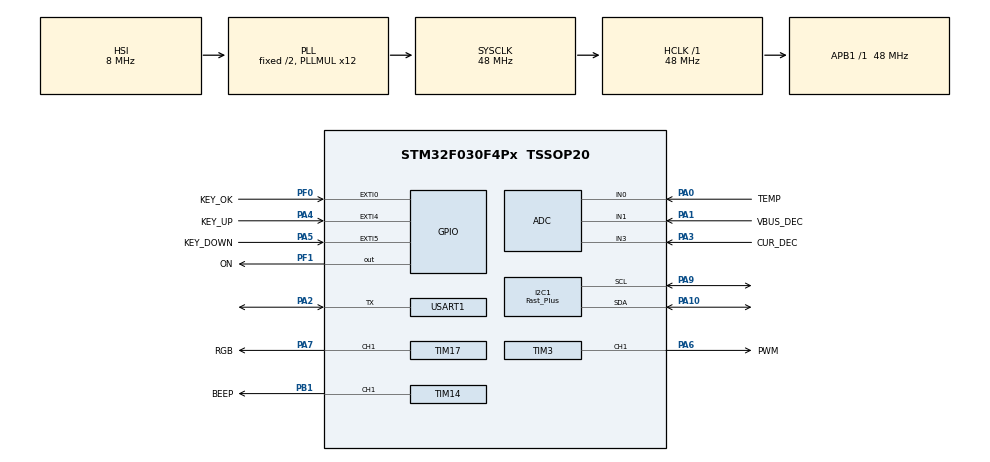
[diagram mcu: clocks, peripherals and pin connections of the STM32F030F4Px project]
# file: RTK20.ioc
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ADC.ContinuousConvMode=ENABLE
ADC.DMAContinuousRequests=ENABLE
ADC.EOCSelection=ADC_EOC_SINGLE_CONV
ADC.Overrun=ADC_OVR_DATA_OVERWRITTEN
ADC.SamplingTime=ADC_SAMPLETIME_239CYCLES_5
Dma.ADC.0.Direction=DMA_PERIPH_TO_MEMORY
Dma.ADC.0.Instance=DMA1_Channel1
Dma.ADC.0.MemDataAlignment=DMA_MDATAALIGN_HALFWORD
Dma.ADC.0.MemInc=DMA_MINC_ENABLE
Dma.ADC.0.Mode=DMA_CIRCULAR
Dma.ADC.0.PeriphDataAlignment=DMA_PDATAALIGN_HALFWORD
Dma.ADC.0.PeriphInc=DMA_PINC_DISABLE
Dma.ADC.0.Priority=DMA_PRIORITY_MEDIUM
Dma.Request0=ADC
Dma.Request1=TIM17_CH1/UP
Dma.Request2=TIM3_CH1/TRIG
Dma.TIM17_CH1/UP.1.Direction=DMA_MEMORY_TO_PERIPH
Dma.TIM17_CH1/UP.1.Instance=DMA1_Channel2
Dma.TIM17_CH1/UP.1.MemDataAlignment=DMA_MDATAALIGN_HALFWORD
Dma.TIM17_CH1/UP.1.MemInc=DMA_MINC_ENABLE
Dma.TIM17_CH1/UP.1.Mode=DMA_NORMAL
Dma.TIM17_CH1/UP.1.PeriphDataAlignment=DMA_PDATAALIGN_HALFWORD
Dma.TIM17_CH1/UP.1.PeriphInc=DMA_PINC_DISABLE
Dma.TIM17_CH1/UP.1.Priority=DMA_PRIORITY_MEDIUM
Dma.TIM3_CH1/TRIG.2.Direction=DMA_MEMORY_TO_PERIPH
Dma.TIM3_CH1/TRIG.2.Instance=DMA1_Channel4
Dma.TIM3_CH1/TRIG.2.MemDataAlignment=DMA_MDATAALIGN_HALFWORD
Dma.TIM3_CH1/TRIG.2.MemInc=DMA_MINC_ENABLE
Dma.TIM3_CH1/TRIG.2.Mode=DMA_NORMAL
Dma.TIM3_CH1/TRIG.2.PeriphDataAlignment=DMA_PDATAALIGN_HALFWORD
Dma.TIM3_CH1/TRIG.2.PeriphInc=DMA_PINC_DISABLE
Dma.TIM3_CH1/TRIG.2.Priority=DMA_PRIORITY_HIGH
I2C1.I2C_Speed_Mode=I2C_Fast_Plus
I2C1.Timing=0x00000001
Mcu.Family=STM32F0
Mcu.Name=STM32F030F4Px
Mcu.Package=TSSOP20
NVIC.ADC1_IRQn=true\:0\:0\:false\:false\:true\:true\:true
NVIC.DMA1_Channel1_IRQn=true\:0\:0\:false\:false\:true\:false\:true
NVIC.DMA1_Channel2_3_IRQn=true\:0\:0\:false\:false\:true\:false\:true
NVIC.DMA1_Channel4_5_IRQn=true\:0\:0\:false\:false\:true\:false\:true
NVIC.EXTI0_1_IRQn=true\:0\:0\:false\:false\:true\:true\:true
NVIC.EXTI4_15_IRQn=true\:0\:0\:false\:false\:true\:true\:true
NVIC.TIM16_IRQn=true\:0\:0\:false\:false\:true\:true\:true
NVIC.TIM1_BRK_UP_TRG_COM_IRQn=true\:0\:0\:false\:false\:true\:true\:true
PA0.GPIO_Label=TEMP
PA0.Mode=IN0
PA0.Signal=ADC_IN0
PA1.GPIO_Label=VBUS_DEC
PA1.Mode=IN1
PA1.Signal=ADC_IN1
PA10.Mode=I2C
PA10.Signal=I2C1_SDA
PA13.Mode=Serial_Wire
PA13.Signal=SYS_SWDIO
PA14.Mode=Serial_Wire
PA14.Signal=SYS_SWCLK
PA2.Mode=Half_duplex(single_wire_mode)
PA2.Signal=USART1_TX
PA3.GPIO_Label=CUR_DEC
PA3.Mode=IN3
PA3.Signal=ADC_IN3
PA4.GPIO_Label=KEY_UP
PA4.GPIO_ModeDefaultEXTI=GPIO_MODE_IT_RISING_FALLING
PA4.GPIO_PuPd=GPIO_PULLUP
PA4.Signal=GPXTI4
PA5.GPIO_Label=KEY_DOWN
PA5.GPIO_ModeDefaultEXTI=GPIO_MODE_IT_RISING_FALLING
PA5.GPIO_PuPd=GPIO_PULLUP
PA5.Signal=GPXTI5
PA6.GPIO_Label=PWM
PA6.Signal=S_TIM3_CH1
PA7.GPIO_Label=RGB
PA7.GPIO_PuPd=GPIO_PULLDOWN
PA7.GPIO_Speed=GPIO_SPEED_FREQ_HIGH
PA7.Signal=S_TIM17_CH1
PA9.Mode=I2C
PA9.Signal=I2C1_SCL
PB1.GPIO_Label=BEEP
PB1.Signal=S_TIM14_CH1
PF0-OSC_IN.GPIO_Label=KEY_OK
PF0-OSC_IN.GPIO_ModeDefaultEXTI=GPIO_MODE_IT_RISING_FALLING
PF0-OSC_IN.GPIO_PuPd=GPIO_PULLUP
PF0-OSC_IN.Signal=GPXTI0
PF1-OSC_OUT.GPIO_Label=ON
PF1-OSC_OUT.Signal=GPIO_Output
ProjectManager.HeapSize=0x200
ProjectManager.StackSize=0x400
ProjectManager.TargetToolchain=MDK-ARM V5.32
RCC.AHBFreq_Value=48000000
RCC.APB1Freq_Value=48000000
RCC.APB1TimFreq_Value=48000000
RCC.HCLKFreq_Value=48000000
RCC.PLLMUL=RCC_PLL_MUL12
RCC.SYSCLKFreq_VALUE=48000000
RCC.SYSCLKSource=RCC_SYSCLKSOURCE_PLLCLK
SH.S_TIM14_CH1.0=TIM14_CH1,PWM Generation1 CH1
SH.S_TIM17_CH1.0=TIM17_CH1,PWM Generation1 CH1
SH.S_TIM3_CH1.0=TIM3_CH1,PWM Generation1 CH1
TIM1.AutoReloadPreload=TIM_AUTORELOAD_PRELOAD_ENABLE
TIM1.Period=100
TIM1.Prescaler=4800
TIM14.Channel=TIM_CHANNEL_1
TIM14.Period=20
TIM14.Prescaler=4800
TIM14.Pulse=3
TIM16.AutoReloadPreload=TIM_AUTORELOAD_PRELOAD_ENABLE
TIM16.Period=100
TIM16.Prescaler=4800
TIM17.AutoReloadPreload=TIM_AUTORELOAD_PRELOAD_ENABLE
TIM17.Channel=TIM_CHANNEL_1
TIM17.OCFastMode_PWM=TIM_OCFAST_ENABLE
TIM17.OCPolarity_1=TIM_OCPOLARITY_HIGH
TIM17.Period=60
TIM3.Channel-PWM\ Generation1\ CH1=TIM_CHANNEL_1
TIM3.Period=100
TIM3.Prescaler=48
TIM3.Pulse-PWM\ Generation1\ CH1=5
USART1.BaudRate=115200
USART1.VirtualMode-Half_duplex(single_wire_mode)=VM_ASYNC
VP_ADC_TempSens_Input.Mode=IN-TempSens
VP_RTC_VS_RTC_Activate.Mode=RTC_Enabled
VP_TIM14_VS_ClockSourceINT.Mode=Enable_Timer
VP_TIM16_VS_ClockSourceINT.Mode=Enable_Timer
VP_TIM17_VS_ClockSourceINT.Mode=Enable_Timer
VP_TIM1_VS_ClockSourceINT.Mode=Internal
VP_TIM3_VS_ClockSourceINT.Mode=Internal
board=custom

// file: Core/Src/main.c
/* USER CODE BEGIN Header */
/**
  ******************************************************************************
  * @file           : main.c
  * @brief          : Main program body
  ******************************************************************************
  * @attention
  *
  * <h2><center>&copy; Copyright (c) 2021 STMicroelectronics.
  * All rights reserved.</center></h2>
  *
  * This software component is licensed by ST under BSD 3-Clause license,
  * the "License"; You may not use this file except in compliance with the
  * License. You may obtain a copy of the License at:
  *                        opensource.org/licenses/BSD-3-Clause
  *
  ******************************************************************************
  */
/* USER CODE END Header */
#include "main.h"
#include "adc.h"
#include "dma.h"
#include "i2c.h"
#include "rtc.h"
#include "tim.h"
#include "usart.h"
#include "gpio.h"

/* USER CODE BEGIN Includes */
#include "include.h"
/* USER CODE END Includes */

void SystemClock_Config(void);

int main(void)
{
  /* USER CODE BEGIN 1 */
	RTC_TimeTypeDef rtctime;
	rtctime.Seconds = 00;
	rtctime.Minutes = 01;
	rtctime.Hours = 01;
  /* USER CODE END 1 */

  /* MCU Configuration--------------------------------------------------------*/

  /* Reset of all peripherals, Initializes the Flash interface and the Systick. */
  HAL_Init();

  /* Configure the system clock */
  SystemClock_Config();

  /* USER CODE BEGIN SysInit */
  rtk20s.flag.SettingFlag = 0;
  rtk20s.flag.SurfaceFlag = 0;
  /* USER CODE END SysInit */

  /* Initialize all configured peripherals */
  MX_GPIO_Init();
  MX_ADC_Init();
  MX_I2C1_Init();
  MX_TIM3_Init();
  MX_TIM14_Init();
  MX_DMA_Init();
  MX_USART1_UART_Init();
  MX_TIM17_Init();
  MX_RTC_Init();
  MX_TIM16_Init();
  MX_TIM1_Init();
  /* USER CODE BEGIN 2 */
	HAL_Delay(50);
	ON_Fun();
	//POWER_ON;
	All_Init();
	TIM14->PSC = 1000;
	HAL_TIM_PWM_Start(&htim14,TIM_CHANNEL_1);
	HAL_Delay(100);
	TIM14->PSC = 800;
	HAL_Delay(100);
	TIM14->PSC = 600;
	HAL_Delay(100);
	HAL_TIM_PWM_Stop(&htim14,TIM_CHANNEL_1);

	HAL_RTC_SetTime(&hrtc,&rtctime,RTC_FORMAT_BIN);

	HAL_TIM_Base_Start_IT(&htim16);

	rtk20s.flag.SurfaceFlag = 0;
	//HAL_RTC_GetTime(&hrtc,);
  /* USER CODE END 2 */

  /* Infinite loop */
  while (1)
  {

    /* USER CODE BEGIN 3 */
    loopFun(&u8g2);

  }
  /* USER CODE END 3 */
}

void SystemClock_Config(void)
{
  RCC_OscInitTypeDef RCC_OscInitStruct = {0};
  RCC_ClkInitTypeDef RCC_ClkInitStruct = {0};
  RCC_PeriphCLKInitTypeDef PeriphClkInit = {0};

  /** Initializes the RCC Oscillators according to the specified parameters
  * in the RCC_OscInitTypeDef structure.
  */
  RCC_OscInitStruct.OscillatorType = RCC_OSCILLATORTYPE_HSI|RCC_OSCILLATORTYPE_HSI14
                              |RCC_OSCILLATORTYPE_LSI;
  RCC_OscInitStruct.HSIState = RCC_HSI_ON;
  RCC_OscInitStruct.HSI14State = RCC_HSI14_ON;
  RCC_OscInitStruct.HSICalibrationValue = RCC_HSICALIBRATION_DEFAULT;
  RCC_OscInitStruct.HSI14CalibrationValue = 16;
  RCC_OscInitStruct.LSIState = RCC_LSI_ON;
  RCC_OscInitStruct.PLL.PLLState = RCC_PLL_ON;
  RCC_OscInitStruct.PLL.PLLSource = RCC_PLLSOURCE_HSI;
  RCC_OscInitStruct.PLL.PLLMUL = RCC_PLL_MUL12;
  RCC_OscInitStruct.PLL.PREDIV = RCC_PREDIV_DIV1;
  if (HAL_RCC_OscConfig(&RCC_OscInitStruct) != HAL_OK)
  {
    Error_Handler();
  }
  /** Initializes the CPU, AHB and APB buses clocks
  */
  RCC_ClkInitStruct.ClockType = RCC_CLOCKTYPE_HCLK|RCC_CLOCKTYPE_SYSCLK
                              |RCC_CLOCKTYPE_PCLK1;
  RCC_ClkInitStruct.SYSCLKSource = RCC_SYSCLKSOURCE_PLLCLK;
  RCC_ClkInitStruct.AHBCLKDivider = RCC_SYSCLK_DIV1;
  RCC_ClkInitStruct.APB1CLKDivider = RCC_HCLK_DIV1;

  if (HAL_RCC_ClockConfig(&RCC_ClkInitStruct, FLASH_LATENCY_1) != HAL_OK)
  {
    Error_Handler();
  }
  PeriphClkInit.PeriphClockSelection = RCC_PERIPHCLK_USART1|RCC_PERIPHCLK_I2C1
                              |RCC_PERIPHCLK_RTC;
  PeriphClkInit.Usart1ClockSelection = RCC_USART1CLKSOURCE_PCLK1;
  PeriphClkInit.I2c1ClockSelection = RCC_I2C1CLKSOURCE_HSI;
  PeriphClkInit.RTCClockSelection = RCC_RTCCLKSOURCE_LSI;
  if (HAL_RCCEx_PeriphCLKConfig(&PeriphClkInit) != HAL_OK)
  {
    Error_Handler();
  }
}

void Error_Handler(void)
{
  __disable_irq();
  while (1)
  {
  }
}
